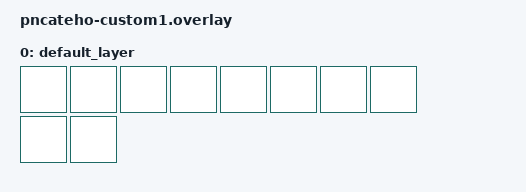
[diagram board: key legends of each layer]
/*
 * pncateho-custom1.overlay
 */

#include "pncateho.dtsi"

&sk {
    release-after-ms = <500>;
    quick-release;
};

{
  combos {
    compatible = "zmk,combos";
  };

  keymap {
    compatible = "zmk,keymap";

    default_layer {
      bindings = < 
        &none &none &none &none &none &none &none &none
        &none &none
      >;
    };
  };
};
